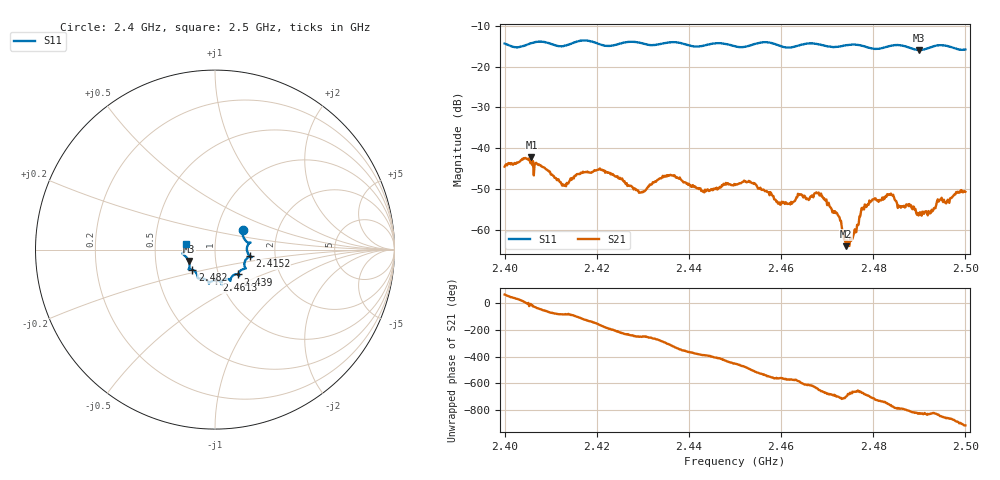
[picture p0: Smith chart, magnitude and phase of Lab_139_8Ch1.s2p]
# Hz S RI R 50
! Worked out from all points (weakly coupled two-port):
!   601 points, 2.4 GHz to 2.5 GHz, reference 50 ohm
!   highest |S21| = -42.12 dB at 2.4058 GHz (marker M1); lowest = -64.0 dB at 2.4742 GHz (marker M2)
!   lowest |S11| = -15.9 dB at 2.49 GHz (marker M3), VSWR 1.38, Z = 37 - j4.84 ohm
!   |S11| at or under -10 dB: start of sweep to end of sweep
!   S12 and S22 are empty: the file has one direction only
!   S11 on the Smith chart (normalised r, x): 2.4 GHz: 1.33, +0.31; 2.4152 GHz: 1.48, -0.11; 2.439 GHz: 1.24, -0.36; 2.4613 GHz: 0.96, -0.34; 2.482 GHz: 0.76, -0.18; 2.5 GHz: 0.72, +0.05
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2.4e9  0.1563 0.1112  0.00247 0.00542  0 0  0 0
2.405833e9  0.1904 0.0372  0.0076 -0.00189  0 0  0 0
2.412833e9  0.1788 -0.00742  0.000396 -0.00347  0 0  0 0
2.415167e9  0.1944 -0.0366  -0.000368 -0.00456  0 0  0 0
2.416667e9  0.2041 -0.0423  -0.00191 -0.00459  0 0  0 0
2.421167e9  0.1772 -0.0499  -0.00537 -0.000949  0 0  0 0
2.429667e9  0.1618 -0.1071  -0.000926 0.00273  0 0  0 0
2.433333e9  0.1324 -0.132  0.000238 0.00413  0 0  0 0
2.439e9  0.1286 -0.1385  0.00384 0.000311  0 0  0 0
2.443167e9  0.09 -0.1564  0.00262 -0.00137  0 0  0 0
2.45e9  0.0689 -0.1638  -9.78e-05 -0.00354  0 0  0 0
2.4535e9  0.0365 -0.1796  -0.00284 -0.00252  0 0  0 0
2.461333e9  0.00702 -0.1708  -0.00181 0.00102  0 0  0 0
2.466667e9  -0.0335 -0.1898  -0.00058 0.00257  0 0  0 0
2.4685e9  -0.0342 -0.1828  0.00101 0.00247  0 0  0 0
2.472167e9  -0.0676 -0.1611  0.00147 0.00063  0 0  0 0
2.474167e9  -0.0873 -0.161  0.000585 0.00024  0 0  0 0
2.477833e9  -0.0968 -0.1502  0.00128 0.00138  0 0  0 0
2.482e9  -0.1262 -0.1122  0.00242 -0.000622  0 0  0 0
2.483333e9  -0.1392 -0.1102  0.00224 -0.00156  0 0  0 0
2.49e9  -0.1463 -0.0638  -0.000442 -0.0015  0 0  0 0
2.5e9  -0.1588 0.0328  -0.00284 0.000703  0 0  0 0
